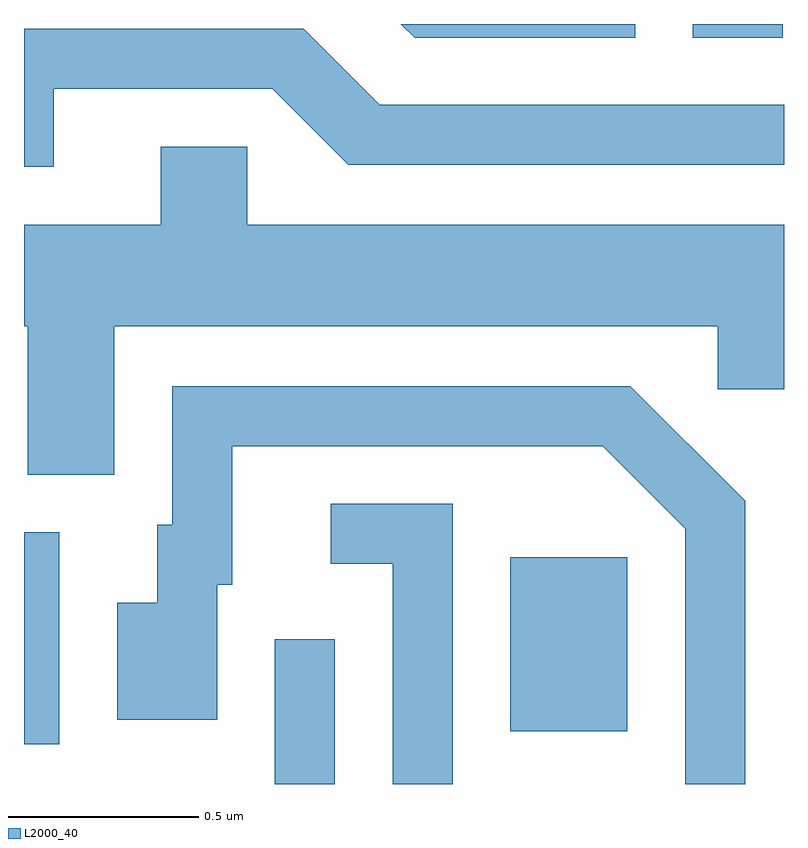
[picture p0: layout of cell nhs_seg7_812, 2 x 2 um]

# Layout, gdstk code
import gdstk
lib = gdstk.Library(unit=1e-6, precision=1e-09)
def R(c, l, rs):  # rectangles x0, y0, x1, y1
    for r in rs: c.add(gdstk.rectangle(r[:2], r[2:], *l))
def P(c, l, *ps):  # polygons
    for p in ps: c.add(gdstk.Polygon(p, *l))
L2000_40 = (2000, 40)

nhs_seg7_812 = lib.new_cell('nhs_seg7_812')
R(nhs_seg7_812, L2000_40, [(191.271,1795.252,191.429,1795.633), (190.611,1795.356,190.704,1795.914), (191.891,1795.391,192.199,1795.849), (192.371,1797.216,192.608,1797.252)])
P(nhs_seg7_812, L2000_40, [(192.219,1797.252),(191.603,1797.252),(191.639,1797.216),(192.219,1797.216)],
  [(190.689,1797.081),(191.264,1797.081),(191.464,1796.881),(192.611,1796.881),(192.611,1797.039),(191.547,1797.039),(191.347,1797.239),(190.611,1797.239),(190.611,1796.876),(190.689,1796.876)],
  [(190.849,1796.456),(192.436,1796.456),(192.436,1796.291),(192.611,1796.291),(192.611,1796.724),(191.199,1796.724),(191.199,1796.929),(190.971,1796.929),(190.971,1796.724),(190.611,1796.724),(190.611,1796.456),(190.621,1796.456),(190.621,1796.066),(190.849,1796.066)],
  [(192.509,1795.997),(192.207,1796.299),(191.001,1796.299),(191.001,1795.934),(190.961,1795.934),(190.961,1795.729),(190.856,1795.729),(190.856,1795.421),(191.119,1795.421),(191.119,1795.776),(191.159,1795.776),(191.159,1796.141),(192.134,1796.141),(192.351,1795.924),(192.351,1795.252),(192.509,1795.252)],
  [(191.739,1795.989),(191.418,1795.989),(191.418,1795.831),(191.581,1795.831),(191.581,1795.252),(191.739,1795.252)])

lib.write_gds('nhs_seg7_812.gds')
